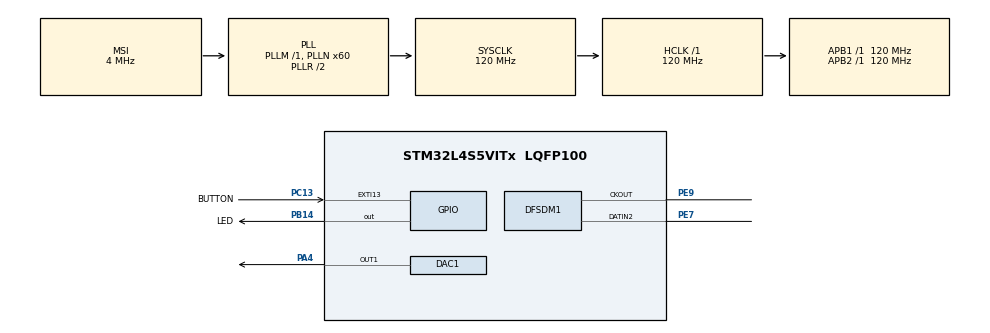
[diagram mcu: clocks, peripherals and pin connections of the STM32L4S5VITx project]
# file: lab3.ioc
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DAC1.DAC_Trigger-DAC_OUT1=DAC_TRIGGER_T2_TRGO
DFSDM1.Divider=117
DFSDM1.DmaMode_reg_FIL0=ENABLE
DFSDM1.FastMode_reg_FIL0=ENABLE
DFSDM1.Filter_regChannel_FIL0=DFSDM_CHANNEL_2
DFSDM1.Fosr_FIL0=64
DFSDM1.RightBitShift_CH2=0x00
DFSDM1.SincOrder_FIL0=DFSDM_FILTER_SINC3_ORDER
Dma.DAC1_CH1.0.Direction=DMA_MEMORY_TO_PERIPH
Dma.DAC1_CH1.0.EventEnable=DISABLE
Dma.DAC1_CH1.0.Instance=DMA1_Channel1
Dma.DAC1_CH1.0.MemDataAlignment=DMA_MDATAALIGN_HALFWORD
Dma.DAC1_CH1.0.MemInc=DMA_MINC_ENABLE
Dma.DAC1_CH1.0.Mode=DMA_CIRCULAR
Dma.DAC1_CH1.0.PeriphDataAlignment=DMA_PDATAALIGN_HALFWORD
Dma.DAC1_CH1.0.PeriphInc=DMA_PINC_DISABLE
Dma.DAC1_CH1.0.Polarity=HAL_DMAMUX_REQUEST_GEN_RISING
Dma.DAC1_CH1.0.Priority=DMA_PRIORITY_LOW
Dma.DAC1_CH1.0.RequestNumber=1
Dma.DAC1_CH1.0.SignalID=NONE
Dma.DAC1_CH1.0.SyncEnable=DISABLE
Dma.DAC1_CH1.0.SyncPolarity=HAL_DMAMUX_SYNC_NO_EVENT
Dma.DAC1_CH1.0.SyncRequestNumber=1
Dma.DAC1_CH1.0.SyncSignalID=NONE
Dma.DFSDM1_FLT0.1.Direction=DMA_PERIPH_TO_MEMORY
Dma.DFSDM1_FLT0.1.EventEnable=DISABLE
Dma.DFSDM1_FLT0.1.Instance=DMA1_Channel2
Dma.DFSDM1_FLT0.1.MemDataAlignment=DMA_MDATAALIGN_WORD
Dma.DFSDM1_FLT0.1.MemInc=DMA_MINC_ENABLE
Dma.DFSDM1_FLT0.1.Mode=DMA_CIRCULAR
Dma.DFSDM1_FLT0.1.PeriphDataAlignment=DMA_PDATAALIGN_WORD
Dma.DFSDM1_FLT0.1.PeriphInc=DMA_PINC_DISABLE
Dma.DFSDM1_FLT0.1.Polarity=HAL_DMAMUX_REQUEST_GEN_RISING
Dma.DFSDM1_FLT0.1.Priority=DMA_PRIORITY_MEDIUM
Dma.DFSDM1_FLT0.1.RequestNumber=1
Dma.DFSDM1_FLT0.1.SignalID=NONE
Dma.DFSDM1_FLT0.1.SyncEnable=DISABLE
Dma.DFSDM1_FLT0.1.SyncPolarity=HAL_DMAMUX_SYNC_NO_EVENT
Dma.DFSDM1_FLT0.1.SyncRequestNumber=1
Dma.DFSDM1_FLT0.1.SyncSignalID=NONE
Dma.Request0=DAC1_CH1
Dma.Request1=DFSDM1_FLT0
Mcu.Family=STM32L4
Mcu.Name=STM32L4S5VITx
Mcu.Package=LQFP100
NVIC.DMA1_Channel1_IRQn=true\:0\:0\:false\:false\:true\:false\:true\:true
NVIC.DMA1_Channel2_IRQn=true\:0\:0\:false\:false\:true\:false\:true\:true
NVIC.EXTI15_10_IRQn=true\:0\:0\:false\:false\:true\:true\:true\:true
NVIC.PriorityGroup=NVIC_PRIORITYGROUP_4
NVIC.TIM2_IRQn=true\:0\:0\:false\:false\:true\:true\:true\:true
PA4.Signal=COMP_DAC11_group
PB14.GPIO_Label=LED
PB14.Signal=GPIO_Output
PC13.GPIO_Label=BUTTON
PC13.Signal=GPXTI13
PE7.Signal=S_DATAIN2DFSDM1
PE9.Signal=S_CKOUTDFSDM1
ProjectManager.HeapSize=0x200
ProjectManager.StackSize=0x400
ProjectManager.TargetToolchain=STM32CubeIDE
RCC.ADCFreq_Value=48000000
RCC.AHBFreq_Value=120000000
RCC.APB1Freq_Value=120000000
RCC.APB1TimFreq_Value=120000000
RCC.APB2Freq_Value=120000000
RCC.APB2TimFreq_Value=120000000
RCC.CortexFreq_Value=120000000
RCC.HCLKFreq_Value=120000000
RCC.HSE_VALUE=8000000
RCC.HSI48_VALUE=48000000
RCC.HSI_VALUE=16000000
RCC.LSE_VALUE=32768
RCC.MSI_VALUE=4000000
RCC.PLLN=60
RCC.PLLSAI1N=24
RCC.SYSCLKFreq_VALUE=120000000
RCC.SYSCLKSource=RCC_SYSCLKSOURCE_PLLCLK
RCC.USBFreq_Value=48000000
RCC.VCOOutputFreq_Value=240000000
SH.COMP_DAC11_group.0=DAC1_OUT1,DAC_OUT1
SH.S_CKOUTDFSDM1.0=DFSDM1_CKOUT,PDM_SPI_input_from_ch2_and_internal_clock
SH.S_CKOUTDFSDM1.1=DFSDM1_CKOUT,CKOUT
SH.S_DATAIN2DFSDM1.0=DFSDM1_DATIN2,PDM_SPI_input_from_ch2_and_internal_clock
TIM2.Period=7487
TIM2.TIM_MasterOutputTrigger=TIM_TRGO_UPDATE
VP_TIM2_VS_ClockSourceINT.Mode=Internal
board=B-L4S5I-IOT01A

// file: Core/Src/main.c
/* USER CODE BEGIN Header */
/**
  ******************************************************************************
  * @file           : main.c
  * @brief          : ECSE 444 Lab 3 — Parts 1–4 combined
  ******************************************************************************
  * Behavior:
  * - Press button: record fixed-length mic sample (LED blinks).
  * - Press button again: play six notes, then the recorded sample (LED solid).
  * - Press button again: re-record; repeat.
  ******************************************************************************
  */
/* USER CODE END Header */
#include "main.h"

/* USER CODE BEGIN Includes */
#include "math.h"
#include "arm_math.h"
/* USER CODE END Includes */

/* USER CODE BEGIN PTD */
typedef enum {
  APP_IDLE = 0,        // LED off
  APP_RECORDING,       // LED blinking
  APP_READY,           // recorded, waiting to play (LED off)
  APP_PLAY_NOTES,      // LED on
  APP_PLAY_SAMPLE      // LED on
} AppState;
/* USER CODE END PTD */

/* USER CODE BEGIN PD */
// ---- Audio/sample-rate pairing ----
// DFSDM Divider = 117, FOSR = 64  -> ~16 kHz input Fs
// TIM2.Period = 7487 (ARR) -> ~16 kHz DAC trigger
#define FS_HZ                16000.0f

// ---- Recording buffer length (fixed-length sample) ----
#define NSAMPLES             16000       // ~1.0 s at ~16 kHz

// ---- Note synthesis ----
#define NOTE_MAX_SAMPLES     1024        // max single-period buffer for one note
#define NOTE_DURATION_MS     250         // duration per note
static const float kNotesHz[6] = {523.25f, 587.33f, 659.25f, 698.46f, 783.99f, 880.00f};

// ---- DAC dynamic range ----
#define DAC_MID              2048
#define DAC_AMP              1365        // ~2/3 full-scale peak (avoid speaker clipping)
/* USER CODE END PD */

DAC_HandleTypeDef hdac1;
DMA_HandleTypeDef hdma_dac1_ch1;

DFSDM_Filter_HandleTypeDef hdfsdm1_filter0;
DFSDM_Channel_HandleTypeDef hdfsdm1_channel2;
DMA_HandleTypeDef hdma_dfsdm1_flt0;

TIM_HandleTypeDef htim2;

/* USER CODE BEGIN PV */
volatile int32_t maxVal; // to test buffer size
// Mic (DFSDM) raw buffer (32-bit words with top 24-bit signed sample)
static int32_t  micBuffer[NSAMPLES];
// Converted samples for DAC (12-bit right-aligned stored in 16-bit)
static uint16_t dacSampleBuffer[NSAMPLES];

static volatile AppState g_state = APP_IDLE;
static volatile uint8_t  g_record_done = 0;
// Request from ISR for the main loop to run the “six notes + sample” sequence
static volatile uint8_t  g_request_playback = 0;

// Guard to let ISR stop any current DAC DMA/TIM2 before state change
static void stop_playback_if_running(void);
/* USER CODE END PV */

void SystemClock_Config(void);
static void MX_GPIO_Init(void);
static void MX_DMA_Init(void);
static void MX_TIM2_Init(void);
static void MX_DAC1_Init(void);
static void MX_DFSDM1_Init(void);
/* USER CODE BEGIN PFP */
static inline uint16_t q24_to_dac12(int32_t s);
static void convert_recording_to_dac(void);
static void start_recording(void);
static void play_six_notes_blocking(void);
static void play_sample_once_blocking(void);
static void start_note_circular(float freq_hz, uint16_t *buf, uint32_t *len);
static void led_update(void);
/* USER CODE END PFP */

/* USER CODE BEGIN 0 */

// Map signed 24-bit DFSDM sample (in bits[31:8]) to unsigned 12-bit DAC
static inline uint16_t q24_to_dac12(int32_t s)
{
  int32_t v = (s >> 11);       // discard 8 LSBs + reduce gain
  v += DAC_MID;                // center around mid-scale
  if (v < 0)    v = 0;
  if (v > 4095) v = 4095;
  return (uint16_t)v;
}

static void convert_recording_to_dac(void)
{
  for (uint32_t i = 0; i < NSAMPLES; ++i)
    dacSampleBuffer[i] = q24_to_dac12(micBuffer[i]);
}

//  IDLE/READY: off
//  RECORDING: blink handled in main loop
//  PLAY_*: solid on
static void led_update(void)
{
  if (g_state == APP_PLAY_NOTES || g_state == APP_PLAY_SAMPLE)
    HAL_GPIO_WritePin(GPIOB, GPIO_PIN_14, GPIO_PIN_SET);
  else if (g_state == APP_IDLE || g_state == APP_READY)
    HAL_GPIO_WritePin(GPIOB, GPIO_PIN_14, GPIO_PIN_RESET);
}

static void stop_playback_if_running(void)
{
  HAL_DAC_Stop_DMA(&hdac1, DAC_CHANNEL_1);
  HAL_TIM_Base_Stop(&htim2);
}

static void start_recording(void)
{
  stop_playback_if_running();
  g_record_done = 0;
  g_request_playback = 0;        // cancel any pending playback request
  g_state = APP_RECORDING;
  // Normal (one-shot) DMA: DFSDM → micBuffer; CpltCallback will fire when full
  HAL_DFSDM_FilterRegularStart_DMA(&hdfsdm1_filter0, micBuffer, NSAMPLES);
}

// Build one full-period sine buffer for a given freq, start DAC DMA circular on it
static void start_note_circular(float freq_hz, uint16_t *buf, uint32_t *len)
{
  float samples_per_period_f = FS_HZ / freq_hz;
  uint32_t samples = (uint32_t)(samples_per_period_f + 0.5f);
  if (samples < 16) samples = 16;
  if (samples > NOTE_MAX_SAMPLES) samples = NOTE_MAX_SAMPLES;

  for (uint32_t i = 0; i < samples; ++i)
  {
    float ph = (2.0f * (float)M_PI) * ((float)i / (float)samples);
    float s  = arm_sin_f32(ph);
    int32_t v = DAC_MID + (int32_t)(DAC_AMP * s);
    if (v < 0)    v = 0;
    if (v > 4095) v = 4095;
    buf[i] = (uint16_t)v;
  }

  *len = samples;

  HAL_DAC_Stop_DMA(&hdac1, DAC_CHANNEL_1);
  HAL_DAC_Start_DMA(&hdac1, DAC_CHANNEL_1, (uint32_t*)buf, *len, DAC_ALIGN_12B_R);
  HAL_TIM_Base_Start(&htim2);
}

static void play_six_notes_blocking(void)
{
  g_state = APP_PLAY_NOTES;
  led_update();

  static uint16_t noteBuf[NOTE_MAX_SAMPLES];
  uint32_t nlen = 0;

  for (int k = 0; k < 6; ++k)
  {
    if (g_state != APP_PLAY_NOTES) break;

    start_note_circular(kNotesHz[k], noteBuf, &nlen);
    HAL_Delay(NOTE_DURATION_MS);

    // Stop current note before starting the next one
    stop_playback_if_running();

    // Small pause between notes
    HAL_Delay(40);
  }

  stop_playback_if_running();
}

static void play_sample_once_blocking(void)
{
  convert_recording_to_dac();

  g_state = APP_PLAY_SAMPLE;
  led_update();

  HAL_DAC_Stop_DMA(&hdac1, DAC_CHANNEL_1);
  HAL_DAC_Start_DMA(&hdac1, DAC_CHANNEL_1,
                    (uint32_t*)dacSampleBuffer, NSAMPLES, DAC_ALIGN_12B_R);
  HAL_TIM_Base_Start(&htim2);

  uint32_t play_ms = (uint32_t)((1000.0f * (float)NSAMPLES) / FS_HZ + 0.5f);

  // Busy-wait; button interrupt can preempt and start a new recording
  uint32_t elapsed = 0;
  while (elapsed < play_ms && g_state == APP_PLAY_SAMPLE)
  {
    HAL_Delay(10);
    elapsed += 10;
  }

  stop_playback_if_running();
  // After playing, go to IDLE so next press records again
  g_state = APP_IDLE;
  g_record_done = 0;
  led_update();
}

// Button PC13: ISR — DO NOT block here; just change state or set flags
void HAL_GPIO_EXTI_Callback(uint16_t GPIO_Pin)
{
  if (GPIO_Pin != GPIO_PIN_13) return;

  switch (g_state)
  {
    case APP_IDLE:
    case APP_PLAY_NOTES:
    case APP_PLAY_SAMPLE:
      // Start a new recording
      start_recording();
      break;

    case APP_RECORDING:
      HAL_DFSDM_FilterRegularStop_DMA(&hdfsdm1_filter0);
      g_state = APP_IDLE;
      led_update();
      break;

    case APP_READY:
      // Only when recording is done and user presses again — request playback
      if (g_record_done)
      {
        g_request_playback = 1;   // handled in main loop
      }
      break;

    default:
      break;
  }
}

// DFSDM DMA complete: recording finished
void HAL_DFSDM_FilterRegConvCpltCallback(DFSDM_Filter_HandleTypeDef *h)
{
  if (h != &hdfsdm1_filter0) return;

  // Stop the DFSDM filter cleanly
  HAL_DFSDM_FilterRegularStop_DMA(&hdfsdm1_filter0);

  // Recording is done; wait for *next button press* to play
  g_record_done = 1;
  g_state = APP_READY;
  led_update();
}
/* USER CODE END 0 */

int main(void)
{

  /* MCU Configuration--------------------------------------------------------*/

  /* Reset of all peripherals, Initializes the Flash interface and the Systick. */
  HAL_Init();

  /* Configure the system clock */
  SystemClock_Config();

  /* Initialize all configured peripherals */
  MX_GPIO_Init();
  MX_DMA_Init();
  MX_TIM2_Init();
  MX_DAC1_Init();
  MX_DFSDM1_Init();
  /* USER CODE BEGIN 2 */
  g_state = APP_IDLE;
  led_update();
  /* USER CODE END 2 */

  /* Infinite loop */
  while (1)
  {

    /* USER CODE BEGIN 3 */
    // LED blink while recording
    if (g_state == APP_RECORDING)
    {
      HAL_GPIO_TogglePin(GPIOB, GPIO_PIN_14);
      HAL_Delay(150);
    }

    // If READY and user requested playback (flag set by ISR), do it here (thread mode)
    if (g_request_playback && g_state == APP_READY && g_record_done)
    {
      g_request_playback = 0;
      maxVal = 0;
      for (int i = 0; i < NSAMPLES; i++) {
          int32_t val = micBuffer[i];
          if (abs(val) > maxVal) maxVal = abs(val);
      }
      HAL_Delay(1000);
      play_six_notes_blocking();
      if (g_state == APP_RECORDING) continue; // user interrupted to record

      play_sample_once_blocking();
      // After sample, we end in APP_READY; next press re-records
    }
  }
  /* USER CODE END 3 */
}

void SystemClock_Config(void)
{
  RCC_OscInitTypeDef RCC_OscInitStruct = {0};
  RCC_ClkInitTypeDef RCC_ClkInitStruct = {0};

  /** Configure the main internal regulator output voltage
  */
  if (HAL_PWREx_ControlVoltageScaling(PWR_REGULATOR_VOLTAGE_SCALE1_BOOST) != HAL_OK)
  {
    Error_Handler();
  }

  /** Initializes the RCC Oscillators according to the specified parameters
  * in the RCC_OscInitTypeDef structure.
  */
  RCC_OscInitStruct.OscillatorType = RCC_OSCILLATORTYPE_MSI;
  RCC_OscInitStruct.MSIState = RCC_MSI_ON;
  RCC_OscInitStruct.MSICalibrationValue = 0;
  RCC_OscInitStruct.MSIClockRange = RCC_MSIRANGE_6;
  RCC_OscInitStruct.PLL.PLLState = RCC_PLL_ON;
  RCC_OscInitStruct.PLL.PLLSource = RCC_PLLSOURCE_MSI;
  RCC_OscInitStruct.PLL.PLLM = 1;
  RCC_OscInitStruct.PLL.PLLN = 60;
  RCC_OscInitStruct.PLL.PLLP = RCC_PLLP_DIV2;
  RCC_OscInitStruct.PLL.PLLQ = RCC_PLLQ_DIV2;
  RCC_OscInitStruct.PLL.PLLR = RCC_PLLR_DIV2;
  if (HAL_RCC_OscConfig(&RCC_OscInitStruct) != HAL_OK)
  {
    Error_Handler();
  }

  /** Initializes the CPU, AHB and APB buses clocks
  */
  RCC_ClkInitStruct.ClockType = RCC_CLOCKTYPE_HCLK|RCC_CLOCKTYPE_SYSCLK
                              |RCC_CLOCKTYPE_PCLK1|RCC_CLOCKTYPE_PCLK2;
  RCC_ClkInitStruct.SYSCLKSource = RCC_SYSCLKSOURCE_PLLCLK;
  RCC_ClkInitStruct.AHBCLKDivider = RCC_SYSCLK_DIV1;
  RCC_ClkInitStruct.APB1CLKDivider = RCC_HCLK_DIV1;
  RCC_ClkInitStruct.APB2CLKDivider = RCC_HCLK_DIV1;

  if (HAL_RCC_ClockConfig(&RCC_ClkInitStruct, FLASH_LATENCY_5) != HAL_OK)
  {
    Error_Handler();
  }
}

static void MX_DAC1_Init(void)
{

  DAC_ChannelConfTypeDef sConfig = {0};

  /** DAC Initialization
  */
  hdac1.Instance = DAC1;
  if (HAL_DAC_Init(&hdac1) != HAL_OK)
  {
    Error_Handler();
  }

  /** DAC channel OUT1 config
  */
  sConfig.DAC_SampleAndHold = DAC_SAMPLEANDHOLD_DISABLE;
  sConfig.DAC_Trigger = DAC_TRIGGER_T2_TRGO;
  sConfig.DAC_HighFrequency = DAC_HIGH_FREQUENCY_INTERFACE_MODE_ABOVE_80MHZ;
  sConfig.DAC_OutputBuffer = DAC_OUTPUTBUFFER_ENABLE;
  sConfig.DAC_ConnectOnChipPeripheral = DAC_CHIPCONNECT_DISABLE;
  sConfig.DAC_UserTrimming = DAC_TRIMMING_FACTORY;
  if (HAL_DAC_ConfigChannel(&hdac1, &sConfig, DAC_CHANNEL_1) != HAL_OK)
  {
    Error_Handler();
  }

}

static void MX_DFSDM1_Init(void)
{

  hdfsdm1_filter0.Instance = DFSDM1_Filter0;
  hdfsdm1_filter0.Init.RegularParam.Trigger = DFSDM_FILTER_SW_TRIGGER;
  hdfsdm1_filter0.Init.RegularParam.FastMode = ENABLE;
  hdfsdm1_filter0.Init.RegularParam.DmaMode = ENABLE;
  hdfsdm1_filter0.Init.FilterParam.SincOrder = DFSDM_FILTER_SINC3_ORDER;
  hdfsdm1_filter0.Init.FilterParam.Oversampling = 64;
  hdfsdm1_filter0.Init.FilterParam.IntOversampling = 1;
  if (HAL_DFSDM_FilterInit(&hdfsdm1_filter0) != HAL_OK)
  {
    Error_Handler();
  }
  hdfsdm1_channel2.Instance = DFSDM1_Channel2;
  hdfsdm1_channel2.Init.OutputClock.Activation = ENABLE;
  hdfsdm1_channel2.Init.OutputClock.Selection = DFSDM_CHANNEL_OUTPUT_CLOCK_SYSTEM;
  hdfsdm1_channel2.Init.OutputClock.Divider = 117;
  hdfsdm1_channel2.Init.Input.Multiplexer = DFSDM_CHANNEL_EXTERNAL_INPUTS;
  hdfsdm1_channel2.Init.Input.DataPacking = DFSDM_CHANNEL_STANDARD_MODE;
  hdfsdm1_channel2.Init.Input.Pins = DFSDM_CHANNEL_SAME_CHANNEL_PINS;
  hdfsdm1_channel2.Init.SerialInterface.Type = DFSDM_CHANNEL_SPI_RISING;
  hdfsdm1_channel2.Init.SerialInterface.SpiClock = DFSDM_CHANNEL_SPI_CLOCK_INTERNAL;
  hdfsdm1_channel2.Init.Awd.FilterOrder = DFSDM_CHANNEL_FASTSINC_ORDER;
  hdfsdm1_channel2.Init.Awd.Oversampling = 1;
  hdfsdm1_channel2.Init.Offset = 0;
  hdfsdm1_channel2.Init.RightBitShift = 0x00;
  if (HAL_DFSDM_ChannelInit(&hdfsdm1_channel2) != HAL_OK)
  {
    Error_Handler();
  }
  if (HAL_DFSDM_FilterConfigRegChannel(&hdfsdm1_filter0, DFSDM_CHANNEL_2, DFSDM_CONTINUOUS_CONV_ON) != HAL_OK)
  {
    Error_Handler();
  }

}

static void MX_TIM2_Init(void)
{

  TIM_ClockConfigTypeDef sClockSourceConfig = {0};
  TIM_MasterConfigTypeDef sMasterConfig = {0};

  htim2.Instance = TIM2;
  htim2.Init.Prescaler = 0;
  htim2.Init.CounterMode = TIM_COUNTERMODE_UP;
  htim2.Init.Period = 7487;
  htim2.Init.ClockDivision = TIM_CLOCKDIVISION_DIV1;
  htim2.Init.AutoReloadPreload = TIM_AUTORELOAD_PRELOAD_DISABLE;
  if (HAL_TIM_Base_Init(&htim2) != HAL_OK)
  {
    Error_Handler();
  }
  sClockSourceConfig.ClockSource = TIM_CLOCKSOURCE_INTERNAL;
  if (HAL_TIM_ConfigClockSource(&htim2, &sClockSourceConfig) != HAL_OK)
  {
    Error_Handler();
  }
  sMasterConfig.MasterOutputTrigger = TIM_TRGO_UPDATE;
  sMasterConfig.MasterSlaveMode = TIM_MASTERSLAVEMODE_DISABLE;
  if (HAL_TIMEx_MasterConfigSynchronization(&htim2, &sMasterConfig) != HAL_OK)
  {
    Error_Handler();
  }

}

static void MX_DMA_Init(void)
{

  /* DMA controller clock enable */
  __HAL_RCC_DMAMUX1_CLK_ENABLE();
  __HAL_RCC_DMA1_CLK_ENABLE();

  /* DMA interrupt init */
  /* DMA1_Channel1_IRQn interrupt configuration */
  HAL_NVIC_SetPriority(DMA1_Channel1_IRQn, 0, 0);
  HAL_NVIC_EnableIRQ(DMA1_Channel1_IRQn);
  /* DMA1_Channel2_IRQn interrupt configuration */
  HAL_NVIC_SetPriority(DMA1_Channel2_IRQn, 0, 0);
  HAL_NVIC_EnableIRQ(DMA1_Channel2_IRQn);

}

static void MX_GPIO_Init(void)
{
  GPIO_InitTypeDef GPIO_InitStruct = {0};

  /* GPIO Ports Clock Enable */
  __HAL_RCC_GPIOC_CLK_ENABLE();
  __HAL_RCC_GPIOA_CLK_ENABLE();
  __HAL_RCC_GPIOE_CLK_ENABLE();
  __HAL_RCC_GPIOB_CLK_ENABLE();

  /*Configure GPIO pin Output Level */
  HAL_GPIO_WritePin(LED_GPIO_Port, LED_Pin, GPIO_PIN_RESET);

  /*Configure GPIO pin : BUTTON_Pin */
  GPIO_InitStruct.Pin = BUTTON_Pin;
  GPIO_InitStruct.Mode = GPIO_MODE_IT_RISING;
  GPIO_InitStruct.Pull = GPIO_NOPULL;
  HAL_GPIO_Init(BUTTON_GPIO_Port, &GPIO_InitStruct);

  /*Configure GPIO pin : LED_Pin */
  GPIO_InitStruct.Pin = LED_Pin;
  GPIO_InitStruct.Mode = GPIO_MODE_OUTPUT_PP;
  GPIO_InitStruct.Pull = GPIO_NOPULL;
  GPIO_InitStruct.Speed = GPIO_SPEED_FREQ_LOW;
  HAL_GPIO_Init(LED_GPIO_Port, &GPIO_InitStruct);

  /* EXTI interrupt init*/
  HAL_NVIC_SetPriority(EXTI15_10_IRQn, 0, 0);
  HAL_NVIC_EnableIRQ(EXTI15_10_IRQn);

}

void Error_Handler(void)
{
  __disable_irq();
  while (1)
  {
  }
}
